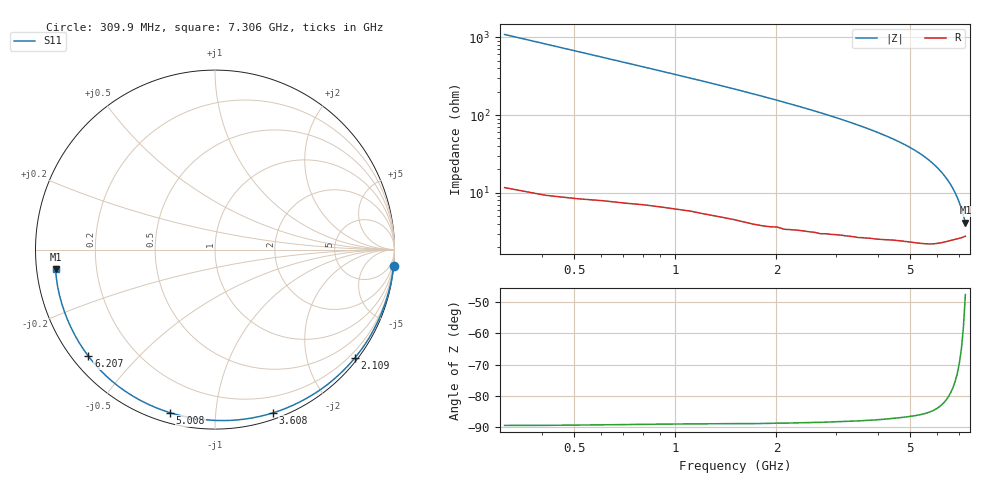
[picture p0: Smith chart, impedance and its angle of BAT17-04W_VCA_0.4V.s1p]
! Infineon Technologies  Discrete & RF Semiconductors
! BAT17-04W
! VCA = 0.4 V
! One-Port S-Parameters
# Hz  S  MA  R  50
!f  S11
!Hz  Mag  Ang
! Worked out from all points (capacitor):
!   71 points, 309.9 MHz to 7.306 GHz, reference 50 ohm
!   read as one part to ground: C = 474 fF near 309.9 MHz
!   lowest |Z| = 4.12 ohm at 7.306 GHz (marker M1)
!   S11 on the Smith chart (normalised r, x): 309.9 MHz: 0, -22; 2.109 GHz: 0.07, -2.92; 3.608 GHz: 0.05, -1.42; 5.008 GHz: 0.05, -0.76; 6.207 GHz: 0.05, -0.36; 7.306 GHz: 0.06, -0.06
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3.0985e8  0.999 -5.3
7.0965e8  0.9967 -12.1
9.0955e8  0.9952 -15.6
1.2094e9  0.993 -20.8
1.50925e9  0.9908 -26.3
1.70915e9  0.9894 -30.0
1.90905e9  0.9876 -33.9
2.10895e9  0.9858 -37.8
2.50875e9  0.9809 -46.0
2.70865e9  0.9787 -50.2
3.0085e9  0.9741 -56.7
3.30835e9  0.9698 -63.5
3.6082e9  0.9653 -70.4
3.8081e9  0.9619 -75.1
4.008e9  0.9589 -80.0
4.2079e9  0.9554 -84.9
4.50775e9  0.95 -92.4
4.70765e9  0.9469 -97.5
5.0075e9  0.9426 -105.4
5.30735e9  0.9386 -113.6
5.6072e9  0.9344 -122.1
5.90705e9  0.9291 -130.9
6.2069e9  0.9222 -139.9
6.50675e9  0.9146 -148.9
6.70665e9  0.9096 -154.9
6.90655e9  0.905 -160.9
7.10645e9  0.9007 -166.9
7.30635e9  0.8952 -173.0
